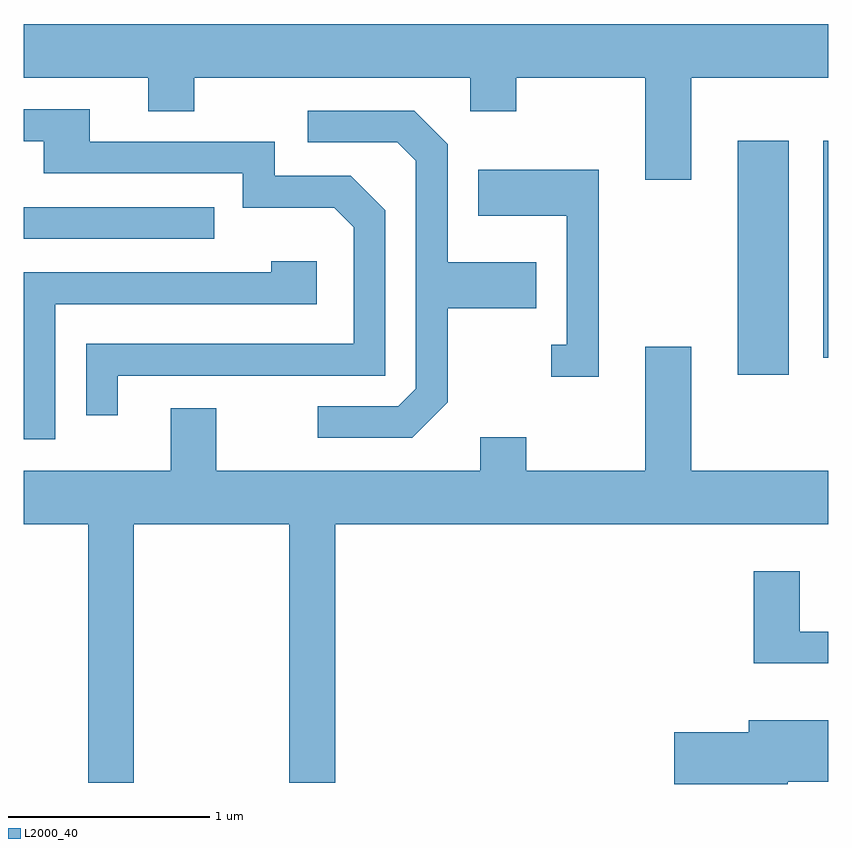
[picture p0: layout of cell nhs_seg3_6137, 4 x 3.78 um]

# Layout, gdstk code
import gdstk
lib = gdstk.Library(unit=1e-6, precision=1e-09)
def R(c, l, rs):  # rectangles x0, y0, x1, y1
    for r in rs: c.add(gdstk.rectangle(r[:2], r[2:], *l))
def P(c, l, *ps):  # polygons
    for p in ps: c.add(gdstk.Polygon(p, *l))
L2000_40 = (2000, 40)

nhs_seg3_6137 = lib.new_cell('nhs_seg3_6137')
R(nhs_seg3_6137, L2000_40, [(369.161,1160.061,369.414,1161.224), (369.586,1160.146,369.611,1161.224), (365.611,1160.736,366.558,1160.894)])
P(nhs_seg3_6137, L2000_40, [(368.929,1161.536),(369.611,1161.536),(369.611,1161.804),(365.611,1161.804),(365.611,1161.536),(366.231,1161.536),(366.231,1161.371),(366.459,1161.371),(366.459,1161.536),(367.831,1161.536),(367.831,1161.371),(368.059,1161.371),(368.059,1161.536),(368.701,1161.536),(368.701,1161.031),(368.929,1161.031)],
  [(366.079,1160.056),(367.409,1160.056),(367.409,1160.877),(367.237,1161.049),(366.859,1161.049),(366.859,1161.219),(365.939,1161.219),(365.939,1161.379),(365.611,1161.379),(365.611,1161.221),(365.711,1161.221),(365.711,1161.061),(366.701,1161.061),(366.701,1160.891),(367.154,1160.891),(367.251,1160.794),(367.251,1160.214),(365.921,1160.214),(365.921,1159.858),(366.079,1159.858)],
  [(367.719,1159.924),(367.719,1160.391),(368.159,1160.391),(368.159,1160.619),(367.719,1160.619),(367.719,1161.207),(367.552,1161.374),(367.023,1161.374),(367.023,1161.216),(367.469,1161.216),(367.561,1161.124),(367.561,1159.992),(367.474,1159.904),(367.073,1159.904),(367.073,1159.746),(367.542,1159.746)],
  [(368.469,1161.079),(367.871,1161.079),(367.871,1160.851),(368.311,1160.851),(368.311,1160.209),(368.233,1160.209),(368.233,1160.051),(368.469,1160.051)],
  [(365.769,1160.411),(367.069,1160.411),(367.069,1160.624),(366.841,1160.624),(366.841,1160.569),(365.611,1160.569),(365.611,1159.741),(365.769,1159.741)],
  [(366.159,1159.316),(366.931,1159.316),(366.931,1158.031),(367.159,1158.031),(367.159,1159.316),(369.611,1159.316),(369.611,1159.584),(368.929,1159.584),(368.929,1160.199),(368.701,1160.199),(368.701,1159.584),(368.109,1159.584),(368.109,1159.749),(367.881,1159.749),(367.881,1159.584),(366.569,1159.584),(366.569,1159.894),(366.341,1159.894),(366.341,1159.584),(365.611,1159.584),(365.611,1159.316),(365.931,1159.316),(365.931,1158.031),(366.159,1158.031)],
  [(369.611,1158.784),(369.469,1158.784),(369.469,1159.084),(369.241,1159.084),(369.241,1158.626),(369.611,1158.626)],
  [(369.41,1158.036),(369.611,1158.036),(369.611,1158.344),(369.216,1158.344),(369.216,1158.284),(368.846,1158.284),(368.846,1158.026),(369.41,1158.026)])

lib.write_gds('nhs_seg3_6137.gds')
